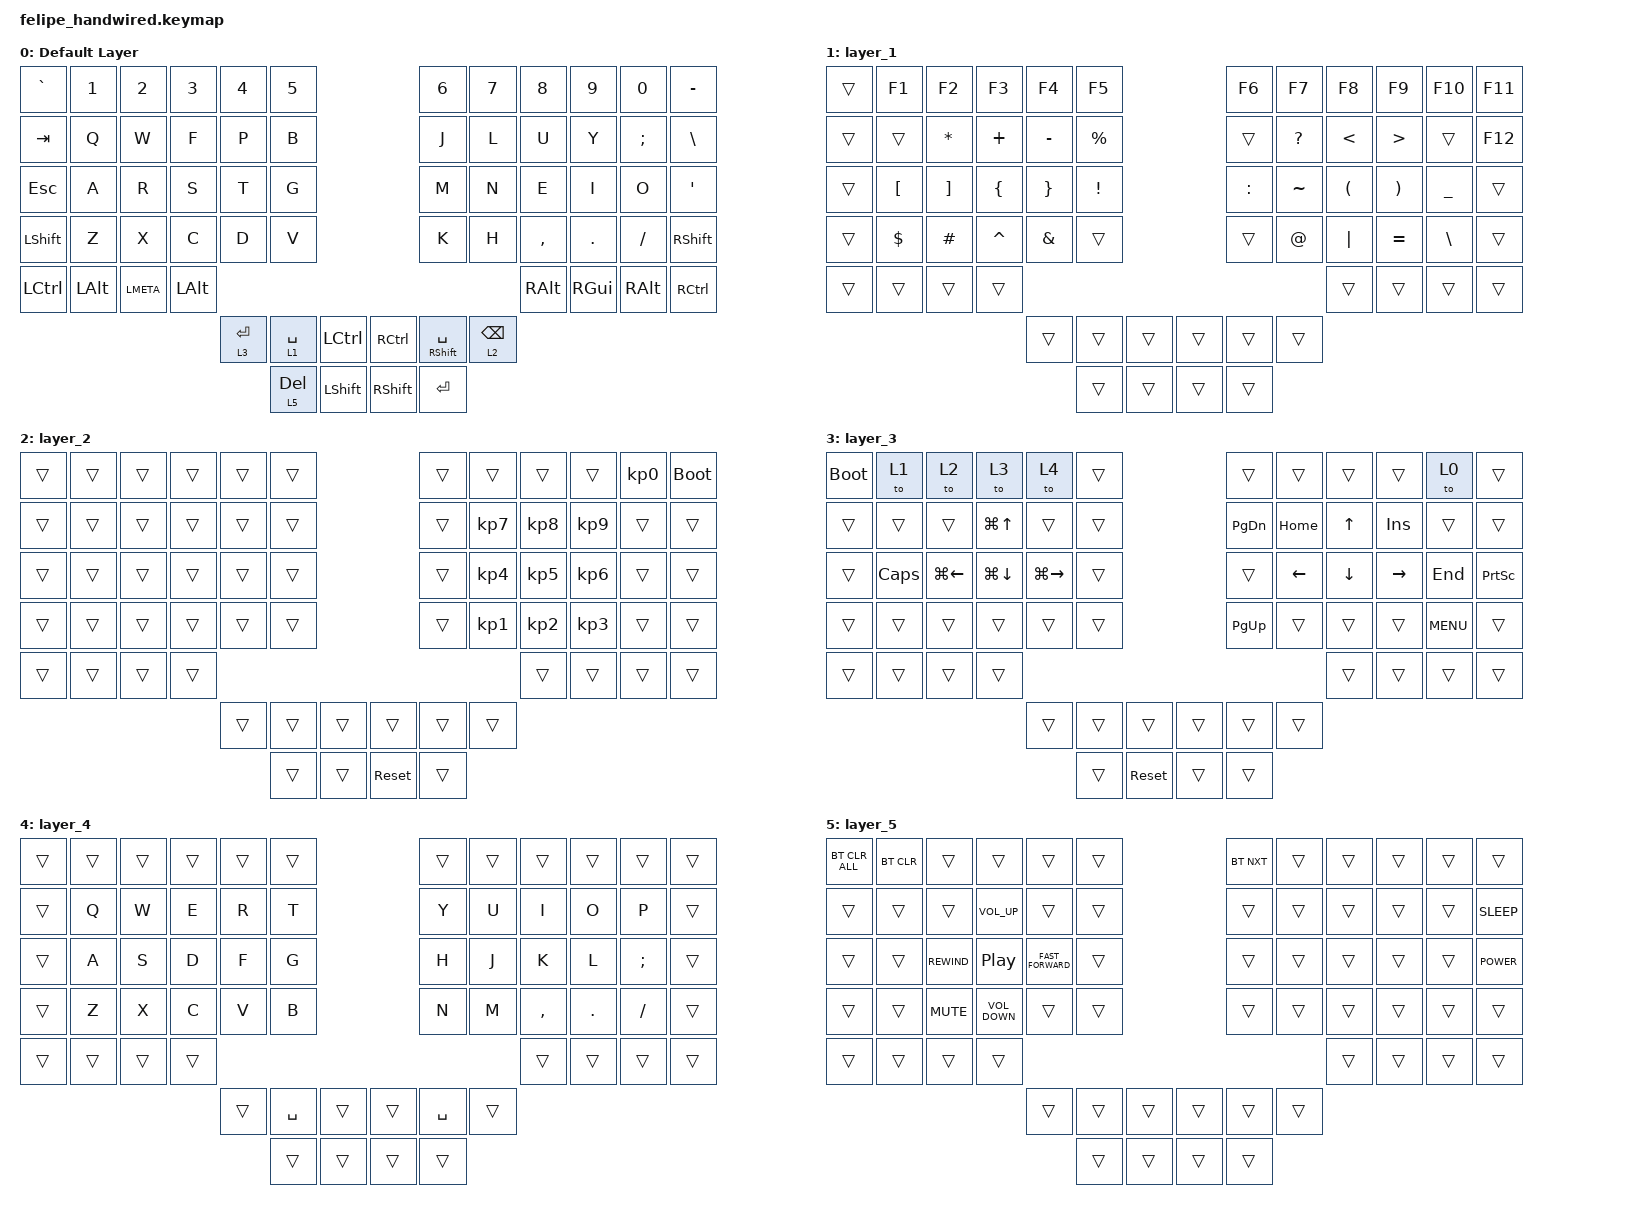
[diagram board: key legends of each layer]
/*
 * Copyright (c) 2020 The ZMK Contributors
 *
 * SPDX-License-Identifier: MIT
 */

#include <behaviors.dtsi>
#include <dt-bindings/zmk/bt.h>
#include <dt-bindings/zmk/keys.h>

&mt {
    tapping-term-ms = <180>;
    flavor = "balanced";
    quick-tap-ms = <200>;
    require-prior-idle-ms = <125>;
};

&lt {
    tapping-term-ms = <180>;
    flavor = "balanced";
    quick-tap-ms = <200>;
    require-prior-idle-ms = <125>;
};

/ {
    keymap {
        compatible = "zmk,keymap";

        default_layer {
            display-name = "Default Layer";
            bindings = <
&kp GRAVE  &kp NUMBER_1  &kp NUMBER_2  &kp NUMBER_3  &kp NUMBER_4  &kp NUMBER_5                              &kp NUMBER_6      &kp NUMBER_7     &kp NUMBER_8  &kp NUMBER_9  &kp NUMBER_0  &kp MINUS
&kp TAB    &kp Q         &kp W         &kp F         &kp P         &kp B                                     &kp J             &kp L            &kp U         &kp Y         &kp SEMI      &kp BSLH
&kp ESC    &kp A         &kp R         &kp S         &kp T         &kp G                                     &kp M             &kp N            &kp E         &kp I         &kp O         &kp SQT
&kp LSHFT  &kp Z         &kp X         &kp C         &kp D         &kp V                                     &kp K             &kp H            &kp COMMA     &kp DOT       &kp FSLH      &kp RIGHT_SHIFT
&kp LCTRL  &kp LALT      &kp LMETA     &kp LALT                                                                                                 &kp RALT      &kp RGUI      &kp RALT      &kp RCTRL
                                                     &lt 3 ENTER   &lt 1 SPACE   &kp LCTRL       &kp RCTRL   &mt RSHIFT SPACE  &lt 2 BACKSPACE
                                                                   &lt 5 DELETE  &kp LEFT_SHIFT  &kp RSHIFT  &kp ENTER
            >;
        };

        layer_1 {
            bindings = <
&trans  &kp F1            &kp F2             &kp F3          &kp F4           &kp F5                           &kp F6     &kp F7        &kp F8                &kp F9                 &kp F10         &kp F11
&trans  &trans            &kp STAR           &kp PLUS        &kp MINUS        &kp PERCENT                      &trans     &kp QUESTION  &kp LESS_THAN         &kp GREATER_THAN       &trans          &kp F12
&trans  &kp LEFT_BRACKET  &kp RIGHT_BRACKET  &kp LEFT_BRACE  &kp RIGHT_BRACE  &kp EXCLAMATION                  &kp COLON  &kp TILDE     &kp LEFT_PARENTHESIS  &kp RIGHT_PARENTHESIS  &kp UNDERSCORE  &trans
&trans  &kp DOLLAR        &kp HASH           &kp CARET       &kp AMPERSAND    &trans                           &trans     &kp AT_SIGN   &kp PIPE              &kp EQUAL              &kp BACKSLASH   &trans
&trans  &trans            &trans             &trans                                                                                     &trans                &trans                 &trans          &trans
                                                             &trans           &trans           &trans  &trans  &trans     &trans
                                                                              &trans           &trans  &trans  &trans
            >;
        };

        layer_2 {
            bindings = <
&trans  &trans  &trans  &trans  &trans  &trans                      &trans  &trans           &trans           &trans           &kp KP_NUMBER_0  &bootloader
&trans  &trans  &trans  &trans  &trans  &trans                      &trans  &kp KP_NUMBER_7  &kp KP_NUMBER_8  &kp KP_NUMBER_9  &trans           &trans
&trans  &trans  &trans  &trans  &trans  &trans                      &trans  &kp KP_NUMBER_4  &kp KP_NUMBER_5  &kp KP_NUMBER_6  &trans           &trans
&trans  &trans  &trans  &trans  &trans  &trans                      &trans  &kp KP_NUMBER_1  &kp KP_NUMBER_2  &kp KP_NUMBER_3  &trans           &trans
&trans  &trans  &trans  &trans                                                               &trans           &trans           &trans           &trans
                                &trans  &trans  &trans  &trans      &trans  &trans
                                        &trans  &trans  &sys_reset  &trans
            >;
        };

        layer_3 {
            bindings = <
&bootloader  &to 1         &to 2               &to 3         &to 4                &trans                      &trans         &trans          &trans          &trans           &to 0       &trans
&trans       &trans        &trans              &kp LG(UP)    &trans               &trans                      &kp PAGE_DOWN  &kp HOME        &kp UP_ARROW    &kp INSERT       &trans      &trans
&trans       &kp CAPSLOCK  &kp LG(LEFT_ARROW)  &kp LG(DOWN)  &kp LG(RIGHT_ARROW)  &trans                      &trans         &kp LEFT_ARROW  &kp DOWN_ARROW  &kp RIGHT_ARROW  &kp END     &kp PRINTSCREEN
&trans       &trans        &trans              &trans        &trans               &trans                      &kp PAGE_UP    &trans          &trans          &trans           &kp K_MENU  &trans
&trans       &trans        &trans              &trans                                                                                        &trans          &trans           &trans      &trans
                                                             &trans               &trans  &trans      &trans  &trans         &trans
                                                                                  &trans  &sys_reset  &trans  &trans
            >;
        };

        layer_4 {
            bindings = <
&trans  &trans  &trans  &trans  &trans  &trans                     &trans     &trans  &trans     &trans   &trans    &trans
&trans  &kp Q   &kp W   &kp E   &kp R   &kp T                      &kp Y      &kp U   &kp I      &kp O    &kp P     &trans
&trans  &kp A   &kp S   &kp D   &kp F   &kp G                      &kp H      &kp J   &kp K      &kp L    &kp SEMI  &trans
&trans  &kp Z   &kp X   &kp C   &kp V   &kp B                      &kp N      &kp M   &kp COMMA  &kp DOT  &kp FSLH  &trans
&trans  &trans  &trans  &trans                                                        &trans     &trans   &trans    &trans
                                &trans  &kp SPACE  &trans  &trans  &kp SPACE  &trans
                                        &trans     &trans  &trans  &trans
            >;
        };

        layer_5 {
            bindings = <
&bt BT_CLR_ALL  &bt BT_CLR  &trans        &trans             &trans              &trans                  &bt BT_NXT  &trans  &trans  &trans  &trans  &trans
&trans          &trans      &trans        &kp C_VOLUME_UP    &trans              &trans                  &trans      &trans  &trans  &trans  &trans  &kp K_SLEEP
&trans          &trans      &kp C_REWIND  &kp C_PLAY_PAUSE   &kp C_FAST_FORWARD  &trans                  &trans      &trans  &trans  &trans  &trans  &kp C_POWER
&trans          &trans      &kp C_MUTE    &kp C_VOLUME_DOWN  &trans              &trans                  &trans      &trans  &trans  &trans  &trans  &trans
&trans          &trans      &trans        &trans                                                                             &trans  &trans  &trans  &trans
                                                             &trans              &trans  &trans  &trans  &trans      &trans
                                                                                 &trans  &trans  &trans  &trans
            >;
        };
    };
};
